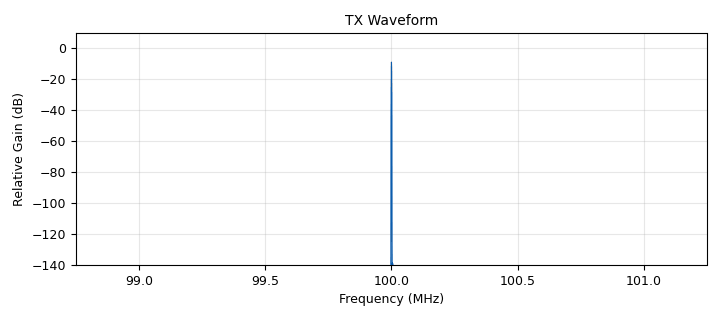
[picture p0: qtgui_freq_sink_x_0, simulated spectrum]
<?xml version='1.0' encoding='utf-8'?>
<?grc format='1' created='3.7.11'?>
<flow_graph>
<block>
<key>options</key>
<param><key>id</key><value>top_block</value></param>
<param><key>generate_options</key><value>qt_gui</value></param>
</block>
<block>
<key>variable_qtgui_range</key>
<param><key>id</key><value>center_freq</value></param>
<param><key>value</key><value>100e6</value></param>
<param><key>gui_hint</key><value>3,0,1,2</value></param>
<param><key>label</key><value>Center Frequency</value></param>
<param><key>orient</key><value>Qt.Horizontal</value></param>
<param><key>start</key><value>100e6</value></param>
<param><key>step</key><value>100000</value></param>
<param><key>stop</key><value>3e9</value></param>
</block>
<block>
<key>variable_qtgui_range</key>
<param><key>id</key><value>rx_gain</value></param>
<param><key>value</key><value>30</value></param>
<param><key>gui_hint</key><value>2,1,1,1</value></param>
<param><key>label</key><value>RX Signal Gain</value></param>
<param><key>orient</key><value>Qt.Horizontal</value></param>
<param><key>start</key><value>0</value></param>
<param><key>step</key><value>1</value></param>
<param><key>stop</key><value>50</value></param>
<param><key>rangeType</key><value>int</value></param>
</block>
<block>
<key>variable</key>
<param><key>id</key><value>samp_rate</value></param>
<param><key>value</key><value>2500000</value></param>
</block>
<block>
<key>variable_qtgui_range</key>
<param><key>id</key><value>tone_freq</value></param>
<param><key>value</key><value>1</value></param>
<param><key>gui_hint</key><value>1,0,1,1</value></param>
<param><key>label</key><value>Tone Frequency</value></param>
<param><key>orient</key><value>Qt.Horizontal</value></param>
<param><key>start</key><value>1</value></param>
<param><key>step</key><value>1000</value></param>
<param><key>stop</key><value>samp_rate/2</value></param>
</block>
<block>
<key>variable_qtgui_range</key>
<param><key>id</key><value>tone_freq_offset</value></param>
<param><key>value</key><value>0</value></param>
<param><key>gui_hint</key><value>1,1,1,1</value></param>
<param><key>label</key><value>Offset Frequency</value></param>
<param><key>orient</key><value>Qt.Horizontal</value></param>
<param><key>start</key><value>0</value></param>
<param><key>step</key><value>1000</value></param>
<param><key>stop</key><value>samp_rate/4</value></param>
</block>
<block>
<key>variable_qtgui_range</key>
<param><key>id</key><value>tx_gain</value></param>
<param><key>value</key><value>6</value></param>
<param><key>gui_hint</key><value>2,0,1,1</value></param>
<param><key>label</key><value>TX Signal Gain</value></param>
<param><key>orient</key><value>Qt.Horizontal</value></param>
<param><key>start</key><value>0</value></param>
<param><key>step</key><value>1</value></param>
<param><key>stop</key><value>9</value></param>
<param><key>rangeType</key><value>int</value></param>
</block>
<block>
<key>analog_sig_source_x</key>
<param><key>id</key><value>analog_sig_source_x_0</value></param>
<param><key>amp</key><value>1</value></param>
<param><key>freq</key><value>tone_freq</value></param>
<param><key>offset</key><value>0</value></param>
<param><key>type</key><value>complex</value></param>
<param><key>samp_rate</key><value>samp_rate</value></param>
<param><key>waveform</key><value>analog.GR_COS_WAVE</value></param>
</block>
<block>
<key>limesdr_sink</key>
<param><key>id</key><value>limesdr_sink_0</value></param>
<param><key>channel</key><value>0</value></param>
<param><key>analog_filter_ch0</key><value>1</value></param>
<param><key>cmix_mode_ch0</key><value>0</value></param>
<param><key>calibration_ch0</key><value>1</value></param>
<param><key>digital_bandw_ch0</key><value>2e6</value></param>
<param><key>digital_filter_ch0</key><value>0</value></param>
<param><key>gain_dB_ch0</key><value>tx_gain</value></param>
<param><key>nco_freq_ch0</key><value>tone_freq_offset</value></param>
<param><key>pa_path_ch0</key><value>1</value></param>
<param><key>pa_path_mini</key><value>1</value></param>
<param><key>analog_filter_ch1</key><value>1</value></param>
<param><key>cmix_mode_ch1</key><value>0</value></param>
<param><key>calibr_bandw_ch1</key><value>10e6</value></param>
<param><key>calibration_ch1</key><value>0</value></param>
<param><key>digital_bandw_ch1</key><value>0</value></param>
<param><key>digital_filter_ch1</key><value>0</value></param>
<param><key>gain_dB_ch1</key><value>30</value></param>
<param><key>pa_path_ch1</key><value>1</value></param>
<param><key>chip_mode</key><value>1</value></param>
<param><key>serial</key><value>1D40F7A60B4B4E</value></param>
<param><key>device_type</key><value>1</value></param>
<param><key>file_switch</key><value>0</value></param>
<param><key>oversample</key><value>0</value></param>
<param><key>rf_freq</key><value>center_freq</value></param>
<param><key>samp_rate</key><value>samp_rate</value></param>
</block>
<block>
<key>limesdr_source</key>
<param><key>id</key><value>limesdr_source_0</value></param>
<param><key>channel</key><value>0</value></param>
<param><key>analog_bandw_ch0</key><value>5e6</value></param>
<param><key>analog_filter_ch0</key><value>1</value></param>
<param><key>cmix_mode_ch0</key><value>1</value></param>
<param><key>calibr_bandw_ch0</key><value>10e6</value></param>
<param><key>calibration_ch0</key><value>1</value></param>
<param><key>digital_bandw_ch0</key><value>0</value></param>
<param><key>digital_filter_ch0</key><value>0</value></param>
<param><key>gain_dB_ch0</key><value>rx_gain</value></param>
<param><key>lna_path_ch0</key><value>2</value></param>
<param><key>lna_path_mini</key><value>3</value></param>
<param><key>analog_bandw_ch1</key><value>5e6</value></param>
<param><key>analog_filter_ch1</key><value>1</value></param>
<param><key>cmix_mode_ch1</key><value>0</value></param>
<param><key>calibr_bandw_ch1</key><value>10e6</value></param>
<param><key>calibration_ch1</key><value>0</value></param>
<param><key>digital_bandw_ch1</key><value>0</value></param>
<param><key>digital_filter_ch1</key><value>0</value></param>
<param><key>gain_dB_ch1</key><value>30</value></param>
<param><key>chip_mode</key><value>1</value></param>
<param><key>serial</key><value>1D40F7A60B4B4E</value></param>
<param><key>device_type</key><value>1</value></param>
<param><key>file_switch</key><value>0</value></param>
<param><key>oversample</key><value>0</value></param>
<param><key>rf_freq</key><value>center_freq</value></param>
<param><key>samp_rate</key><value>samp_rate</value></param>
</block>
<block>
<key>qtgui_freq_sink_x</key>
<param><key>id</key><value>qtgui_freq_sink_x_0</value></param>
<param><key>bw</key><value>samp_rate</value></param>
<param><key>fc</key><value>center_freq</value></param>
<param><key>fftsize</key><value>4096</value></param>
<param><key>gui_hint</key><value>4,0,1,1</value></param>
<param><key>grid</key><value>True</value></param>
<param><key>legend</key><value>False</value></param>
<param><key>name</key><value>TX Waveform</value></param>
<param><key>showports</key><value>True</value></param>
<param><key>type</key><value>complex</value></param>
<param><key>wintype</key><value>firdes.WIN_BLACKMAN_hARRIS</value></param>
</block>
<block>
<key>qtgui_freq_sink_x</key>
<param><key>id</key><value>qtgui_freq_sink_x_0_0</value></param>
<param><key>bw</key><value>samp_rate</value></param>
<param><key>fc</key><value>center_freq</value></param>
<param><key>fftsize</key><value>4096</value></param>
<param><key>gui_hint</key><value>4,1,1,1</value></param>
<param><key>grid</key><value>True</value></param>
<param><key>legend</key><value>False</value></param>
<param><key>name</key><value>RX Waveform</value></param>
<param><key>showports</key><value>True</value></param>
<param><key>type</key><value>complex</value></param>
<param><key>wintype</key><value>firdes.WIN_BLACKMAN_hARRIS</value></param>
</block>
<connection><source_block_id>analog_sig_source_x_0</source_block_id><sink_block_id>limesdr_sink_0</sink_block_id><source_key>0</source_key><sink_key>0</sink_key></connection>
<connection><source_block_id>analog_sig_source_x_0</source_block_id><sink_block_id>qtgui_freq_sink_x_0</sink_block_id><source_key>0</source_key><sink_key>0</sink_key></connection>
<connection><source_block_id>limesdr_source_0</source_block_id><sink_block_id>qtgui_freq_sink_x_0_0</sink_block_id><source_key>0</source_key><sink_key>0</sink_key></connection>
</flow_graph>
